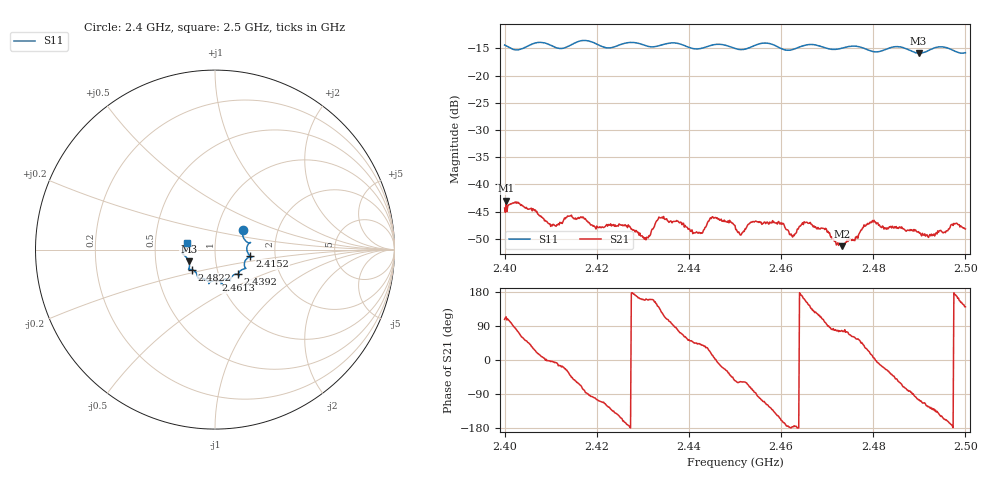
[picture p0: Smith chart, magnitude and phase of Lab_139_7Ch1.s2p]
# Hz S RI R 50
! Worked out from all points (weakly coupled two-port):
!   601 points, 2.4 GHz to 2.5 GHz, reference 50 ohm
!   highest |S21| = -42.97 dB at 2.4003 GHz (marker M1); lowest = -51.3 dB at 2.4732 GHz (marker M2)
!   lowest |S11| = -15.9 dB at 2.4898 GHz (marker M3), VSWR 1.38, Z = 37 - j5.03 ohm
!   |S11| at or under -10 dB: start of sweep to end of sweep
!   S12 and S22 are empty: the file has one direction only
!   S11 on the Smith chart (normalised r, x): 2.4 GHz: 1.33, +0.30; 2.4152 GHz: 1.48, -0.11; 2.4392 GHz: 1.23, -0.35; 2.4613 GHz: 0.96, -0.34; 2.4822 GHz: 0.76, -0.17; 2.5 GHz: 0.73, +0.05
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2.4e9  0.1554 0.1106  -0.00178 0.00579  0 0  0 0
2.400333e9  0.1548 0.1059  -0.00287 0.00649  0 0  0 0
2.402833e9  0.1595 0.0639  0.00169 0.00652  0 0  0 0
2.4105e9  0.1832 0.0276  0.00428 -0.00037  0 0  0 0
2.415167e9  0.1952 -0.0357  0.00294 -0.00382  0 0  0 0
2.416667e9  0.2048 -0.0419  0.00175 -0.0047  0 0  0 0
2.430667e9  0.1511 -0.1116  -0.00293 0.00101  0 0  0 0
2.433333e9  0.132 -0.1324  -0.00376 0.003  0 0  0 0
2.439167e9  0.1268 -0.1379  0.00199 0.0037  0 0  0 0
2.4425e9  0.0943 -0.1496  0.00269 0.0023  0 0  0 0
2.4455e9  0.0846 -0.1725  0.00488 0.00051  0 0  0 0
2.45e9  0.0687 -0.1636  0.00242 -0.00342  0 0  0 0
2.451167e9  0.0549 -0.1639  0.00186 -0.00287  0 0  0 0
2.458e9  0.0389 -0.1901  -0.00289 -0.00334  0 0  0 0
2.461333e9  0.00711 -0.1705  -0.00381 -0.000372  0 0  0 0
2.466667e9  -0.0335 -0.1898  -0.00306 0.00301  0 0  0 0
2.473167e9  -0.0787 -0.1601  0.000567 0.00265  0 0  0 0
2.479667e9  -0.1044 -0.1307  0.00437 0.00105  0 0  0 0
2.482167e9  -0.1281 -0.1119  0.00386 -0.00132  0 0  0 0
2.483333e9  -0.1394 -0.1104  0.00346 -0.00194  0 0  0 0
2.489833e9  -0.1457 -0.0662  -0.000986 -0.00355  0 0  0 0
2.5e9  -0.1583 0.0341  -0.003 0.00248  0 0  0 0
